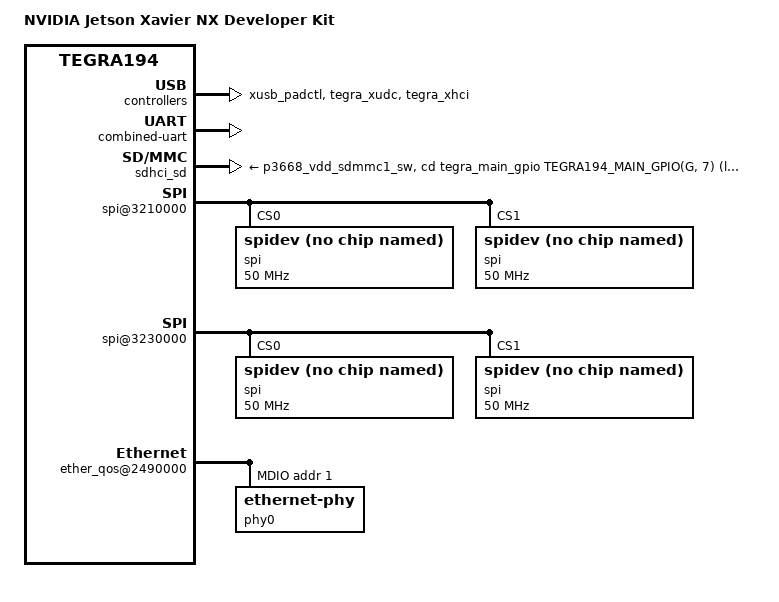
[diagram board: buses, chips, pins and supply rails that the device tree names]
/*
 * Common include DTS file for CVM:P3668-0001 and CVB:P3449-0000 variants.
 *
 * Copyright (c) 2019, NVIDIA CORPORATION.  All rights reserved.
 *
 * This program is free software; you can redistribute it and/or modify
 * it under the terms of the GNU General Public License as published by
 * the Free Software Foundation; version 2 of the License.
 *
 * This program is distributed in the hope that it will be useful, but WITHOUT
 * ANY WARRANTY; without even the implied warranty of MERCHANTABILITY or
 * FITNESS FOR A PARTICULAR PURPOSE.  See the GNU General Public License for
 * more details.
 */

#include "dt-bindings/extcon-ids.h"
#include "dt-bindings/gpio/tegra194-gpio.h"
#include <dt-bindings/pwm/pwm.h>
#include <tegra194-soc/tegra194-soc-cvm.dtsi>

#include <t19x-common-platforms/tegra194-comms.dtsi>
#include <t19x-common-platforms/tegra194-platforms-eqos.dtsi>
#include "tegra194-powermon-p3668.dtsi"
#include "tegra194-power-tree-p3668.dtsi"
#include "tegra194-thermal-p3668.dtsi"
#include <t19x-common-platforms/tegra194-no-pll-aon-clock.dtsi>
#include "tegra194-p3668-pcie-plugin-manager.dtsi"
#include "tegra194-plugin-manager-p3668.dtsi"

/ {
  nvidia,fastboot-usb-vid = <0x0955>;
  nvidia,fastboot-usb-pid = <0xee1e>;
  model = "NVIDIA Jetson Xavier NX Developer Kit";

  chosen {
    bootargs ="console=ttyTCU0,115200";
    board-has-eeprom;
    nvidia,tegra-joint_xpu_rail;
  };

  cpufreq {
    compatible = "nvidia,tegra194-cpufreq";
    status = "okay";
    cpu_emc_map = <1907200 1600000>,
          <1881600 800000>,
          <1574400 665000>,
          <1267200 408000>;
  };

  pmc@c370000 {
    nvidia,invert-interrupt;
  };

  pmc@c360000 {
    iopad_defaults: iopad-defaults {
    sdmmc-io-pads {
      pins = "sdmmc1-hv", "sdmmc3-hv";
      nvidia,enable-voltage-switching;
    };
  };
};


  external-connection {
    vbus_id_extcon: extcon@1 {
      compatible = "extcon-gpio-states";
      reg = <0x1>;
      extcon-gpio,name = "VBUS";
      extcon-gpio,cable-states = <
            0x0 0x1
            0x1 0x0>;
      gpios = <&tegra_main_gpio TEGRA194_MAIN_GPIO(Z, 1) 0>;
      extcon-gpio,out-cable-names = <EXTCON_USB EXTCON_USB_HOST EXTCON_NONE>;
      wakeup-source;
      #extcon-cells = <1>;
    };
  };

  xusb_padctl: xusb_padctl@3520000 {
    status = "okay";

    pads {
      usb2 {
        lanes {
          usb2-0 {
            nvidia,function = "xusb";
            status = "okay";
          };
          usb2-1 {
            nvidia,function = "xusb";
            status = "okay";
          };
          usb2-2 {
            nvidia,function = "xusb";
            status = "okay";
          };
        };
      };
      usb3 {
        lanes {
          usb3-2 {
            nvidia,function = "xusb";
            status = "okay";
          };
        };
      };
    };

    ports {
      usb2-0 {
        mode = "otg";
        status = "okay";
      };
      usb2-1 {
        mode = "host";
        status = "okay";
      };
      usb2-2 {
        mode = "host";
        vbus-supply = <&battery_reg>;
        status = "okay";
      };
      usb3-2 {
        nvidia,usb2-companion = <1>;
        status = "okay";
      };
    };
  };

  tegra_xudc: xudc@3550000 {
    extcon-cables = <&vbus_id_extcon 0>;
    extcon-cable-names = "vbus";
    #extcon-cells = <1>;
    phys = <&{/xusb_padctl@3520000/pads/usb2/lanes/usb2-0}>;
    phy-names = "usb2";
    nvidia,xusb-padctl = <&xusb_padctl>;
    nvidia,boost_cpu_freq = <1200>;
    status = "okay";
  };

  tegra_xhci: xhci@3610000 {
    extcon-cables = <&vbus_id_extcon 1>;
    extcon-cable-names = "id";
    #extcon-cells = <1>;
    phys = <&{/xusb_padctl@3520000/pads/usb2/lanes/usb2-0}>,
      <&{/xusb_padctl@3520000/pads/usb2/lanes/usb2-1}>,
      <&{/xusb_padctl@3520000/pads/usb2/lanes/usb2-2}>,
      <&{/xusb_padctl@3520000/pads/usb3/lanes/usb3-2}>;
    phy-names = "usb2-0", "usb2-1", "usb2-2", "usb3-2";
    nvidia,xusb-padctl = <&xusb_padctl>;
    status = "okay";
  };

  reserved-memory {
    ramoops_carveout {
      status = "okay";
    };
  };

  mttcan@c310000 {
    status = "disabled";
    pll_source = "pllc";
    clocks = <&bpmp_clks TEGRA194_CLK_CAN1_CORE>,
      <&bpmp_clks TEGRA194_CLK_CAN1_HOST>,
      <&bpmp_clks TEGRA194_CLK_CAN1>,
      <&bpmp_clks TEGRA194_CLK_PLLC>;
    clock-names = "can_core", "can_host","can", "pllc";
  };

  mttcan@c320000 {
    status = "disabled";
  };

  hardwood {
    compatible = "nvidia,denver-hardwood";
    interrupts = <0 24 0x4>;
  };

  pfsd {
    pwm_polarity= <PWM_POLARITY_NORMAL>;
    suspend_state = <0>;
  };

  serial@3100000 {
    compatible = "nvidia,tegra186-hsuart";
    status = "disabled";
  };

  serial@3140000 {
    compatible = "nvidia,tegra186-hsuart";
    status = "disabled";
  };

  combined-uart {
    console-port;
    combined-uart;
    status = "okay";
  };

  sdhci_emmc: sdhci@3460000 {
    uhs-mask = <0x0>;
    nvidia,enable-hwcq;
    status = "disabled";
  };

  sdhci_sd: sdhci@3400000 {
    mmc-ocr-mask = <0x0>;
    cd-inverted;
    cd-gpios = <&tegra_main_gpio TEGRA194_MAIN_GPIO(G, 7) 0>;
    nvidia,cd-wakeup-capable;
    mmc-ocr-mask = <0>;
    cd-inverted;
    vmmc-supply = <&p3668_vdd_sdmmc1_sw>;
    status = "okay";
  };

  rtcpu@bc00000 {
    status = "okay";
    nvidia,cmd-timeout = <2000>;
  };

  gpio@c2f0000 {
    pex-refclk-sel-low {
      gpio-hog;
      output-low;
      gpios = <TEGRA194_AON_GPIO(AA, 5) 0>;
      label = "pex_refclk_sel_low";
      status = "disabled";
    };

    pex-refclk-sel-high {
      gpio-hog;
      output-high;
      gpios = <TEGRA194_AON_GPIO(AA, 5) 0>;
      label = "pex_refclk_sel_high";
      status = "disabled";
    };
  };

  pcie@14160000 {
    status = "disabled";
    nvidia,pex-wake = <&tegra_main_gpio TEGRA194_MAIN_GPIO(L, 2)
          GPIO_ACTIVE_HIGH>;
    vddio-pex-ctl-supply = <&p3668_spmic_sd3>;
    nvidia,disable-aspm-states = <0xf>;
    nvidia,enable-power-down;
    nvidia,max-speed = <3>;

    num-lanes = <1>;
    phys = <&p2u_11>;
    phy-names = "pcie-p2u-0";
  };

  pcie@141a0000 {
    status = "disabled";
    vddio-pex-ctl-supply = <&p3668_spmic_sd3>;
    nvidia,disable-aspm-states = <0xf>;
    nvidia,enable-power-down;
    nvidia,max-speed = <4>;
    phys = <&p2u_12>,
           <&p2u_13>,
           <&p2u_14>,
           <&p2u_15>,
           <&p2u_16>,
           <&p2u_17>,
           <&p2u_18>,
           <&p2u_19>;

    phy-names = "pcie-p2u-0", "pcie-p2u-1", "pcie-p2u-2", "pcie-p2u-3",
          "pcie-p2u-4", "pcie-p2u-5", "pcie-p2u-6", "pcie-p2u-7";
  };

  pcie_ep@141a0000 {
    status = "disabled";

    nvidia,disable-aspm-states = <0xf>;

    vddio-pex-ctl-supply = <&p3668_spmic_sd3>;

    phys = <&p2u_12>, <&p2u_13>, <&p2u_14>, <&p2u_15>,
      <&p2u_16>, <&p2u_17>, <&p2u_18>, <&p2u_19>;
    phy-names = "pcie-p2u-0", "pcie-p2u-1", "pcie-p2u-2", "pcie-p2u-3",
        "pcie-p2u-4", "pcie-p2u-5", "pcie-p2u-6", "pcie-p2u-7";

    nvidia,pex-rst-gpio = <&tegra_main_gpio TEGRA194_MAIN_GPIO(GG, 1)
          GPIO_ACTIVE_LOW>;
  };

  eeprom-manager {
    data-size = <0x100>;
    bus@0 {
      i2c-bus = <&gen1_i2c>;
      eeprom@0 {
        slave-address = <0x50>;
        label = "cvm";
      };
    };
  };

  /* FIX ME. Check Which one is needed */
  spi@3210000{ /* SPI1 in 40 pin conn */
    status = "okay";
    spi@0 { /* chip select 0 */
      compatible = "spidev";
      reg = <0x0>;
      spi-max-frequency = <50000000>;
      controller-data {
        nvidia,enable-hw-based-cs;
        nvidia,rx-clk-tap-delay = <0x10>;
        nvidia,tx-clk-tap-delay = <0x0>;
      };
    };
    spi@1 { /* chip select 1 */
      compatible = "spidev";
      reg = <0x1>;
      spi-max-frequency = <50000000>;
      controller-data {
        nvidia,enable-hw-based-cs;
        nvidia,rx-clk-tap-delay = <0x10>;
        nvidia,tx-clk-tap-delay = <0x0>;
      };
    };
  };

  spi@3230000{ /* SPI3 in 40 pin conn */
    status = "okay";
    spi@0 { /* chip select 0 */
      compatible = "spidev";
      reg = <0x0>;
      spi-max-frequency = <50000000>;
      controller-data {
        nvidia,enable-hw-based-cs;
        nvidia,rx-clk-tap-delay = <0x10>;
        nvidia,tx-clk-tap-delay = <0x0>;
      };
    };

    spi@1 { /* chips select 1 */
      compatible = "spidev";
      reg = <0x1>;
      spi-max-frequency = <50000000>;
      controller-data {
        nvidia,enable-hw-based-cs;
        nvidia,rx-clk-tap-delay = <0x10>;
        nvidia,tx-clk-tap-delay = <0x0>;
      };
    };
  };

  ether_qos@2490000 {
    nvidia,phy-reset-gpio = <&tegra_main_gpio TEGRA194_MAIN_GPIO(R, 1) 0>;
    nvidia,phy-reset-post-delay = <224>;
    nvidia,phy-reset-duration = <10000>;
    status = "okay";
    mdio {
      compatible = "nvidia,eqos-mdio";
      #address-cells = <1>;
      #size-cells = <0>;
      phy0: ethernet-phy@0 {
        reg = <1>;
      };
    };
  };

  leds {
    compatible = "gpio-leds";
    status = "disabled";
    pwr {
      gpios = <&tegra_aon_gpio TEGRA194_AON_GPIO(CC, 1) GPIO_ACTIVE_HIGH>;
      default-state = "on";
    };
  };


  /* QSPI flash S25FS128SAGNFI103 is controlled by qspi0 */
  spi@3270000 {
    spi-max-frequency = <136000000>;
    status = "disabled";
    prod-settings {
      #prod-cells = <3>;
      prod {
        prod = <0x04 0x000000ff 0x10>;
      };
    };
    /* QSPI NOR */
    spiflash@0 {
      #address-cells = <1>;
      #size-cells = <1>;
      compatible = "s25fs256s";
      reg = <0>;
      spi-max-frequency = <136000000>;
      partition@0 {
        label = "Whole_flash0";
        reg = <0x00000000 0x2000000>; /* size of QSPI-NOR 32MB == 256Mb */
      };
      controller-data {
        nvidia,x1-len-limit = <16>;
        nvidia,x1-bus-speed = <136000000>; /* In Mhz */
        nvidia,x1-dymmy-cycle = <8>;
        nvidia,x4-bus-speed = <136000000>;
        nvidia,x4-dymmy-cycle = <8>;
        nvidia,x4-is-ddr=<0>;
        nvidia,ctrl-bus-clk-ratio = <1>;
      };
    };
  };
  clocks-init {
    compatible = "nvidia,clocks-config";
    status = "okay";
    disable {
      clocks = <&aon_clks TEGRA194_CLK_PLLAON>,
        <&bpmp_clks TEGRA194_CLK_CAN1>,
        <&bpmp_clks TEGRA194_CLK_CAN2>;
    };
  };
};

#if LINUX_VERSION >= 414
#include <tegra194-linux-4.14.dtsi>
#endif
